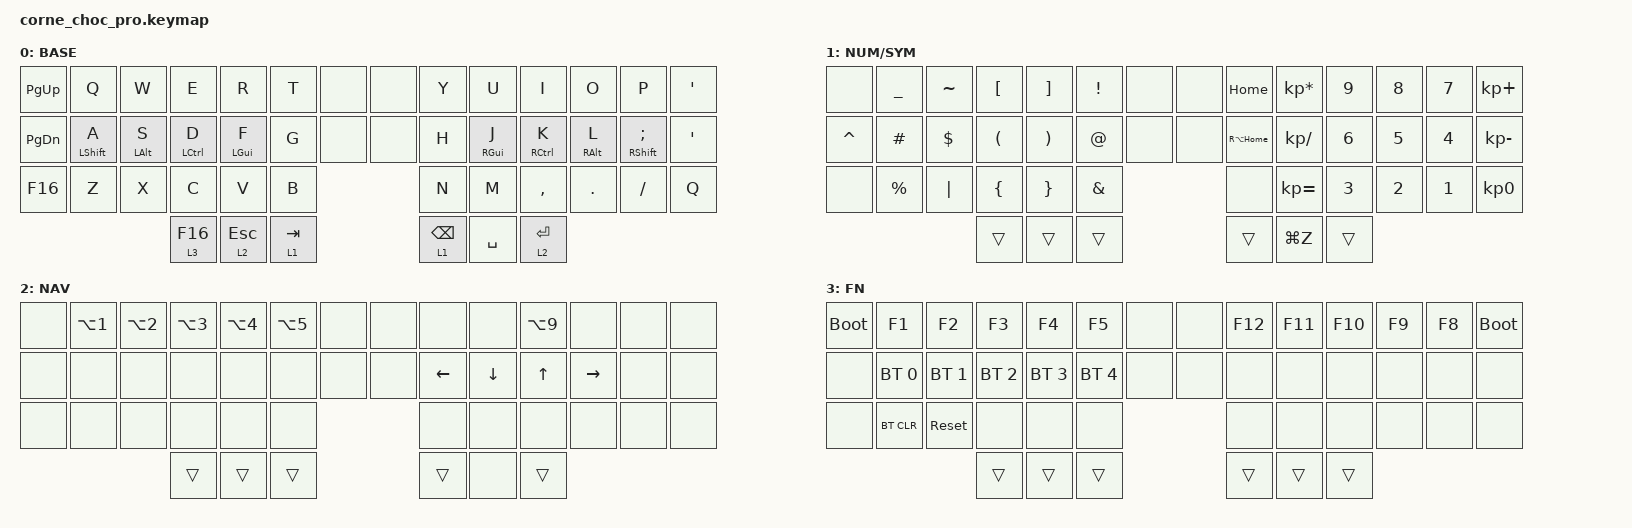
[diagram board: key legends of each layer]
/*
 * Custom layout converted from Vial for Corne Choc Pro
 * Based on keyboard.vil with home row mods
 */

#include <behaviors.dtsi>
#include <dt-bindings/zmk/keys.h>
#include <dt-bindings/zmk/bt.h>

/ {
    chosen {
        zmk,physical-layout = &default_layout;
    };
};

/ {
    keymap {
        compatible = "zmk,keymap";

        // Layer 0: Base Layer - TEST (bottom right is Q instead of Cmd+ESC)
        default_layer {
            display-name = "BASE";
            bindings = <
   &kp PG_UP  &kp Q         &kp W         &kp E         &kp R           &kp T       &none     &none     &kp Y     &kp U           &kp I         &kp O         &kp P          &kp SQT
   &kp PG_DN  &mt LSHFT A   &mt LALT S    &mt LCTRL D   &mt LGUI F      &kp G       &none     &none     &kp H     &mt RGUI J      &mt RCTRL K   &mt RALT L    &mt RSHFT SEMI &kp SQT
   &kp F16    &kp Z         &kp X         &kp C         &kp V           &kp B                           &kp N     &kp M           &kp COMMA     &kp DOT       &kp SLASH      &kp Q
                                          &lt 3 F16     &lt 2 ESC       &lt 1 TAB                       &lt 1 BSPC &kp SPACE      &lt 2 RET
            >;
        };

        // Layer 1: Numbers and Symbols
        numbers_layer {
            display-name = "NUM/SYM";
            bindings = <
   &none      &kp UNDER     &kp TILDE     &kp LBKT      &kp RBKT        &kp EXCL    &none     &none     &kp HOME  &kp KP_MULTIPLY &kp N9        &kp N8        &kp N7         &kp KP_PLUS
   &kp CARET  &kp HASH      &kp DOLLAR    &kp LPAR      &kp RPAR        &kp AT      &none     &none     &kp RA(HOME) &kp KP_DIVIDE &kp N6       &kp N5        &kp N4         &kp KP_MINUS
   &none      &kp PRCNT     &kp PIPE      &kp LBRC      &kp RBRC        &kp AMPS                        &none     &kp KP_EQUAL    &kp N3        &kp N2        &kp N1         &kp KP_N0
                                          &trans        &trans          &trans                          &trans    &kp LG(Z)       &trans
            >;
        };

        // Layer 2: Navigation
        nav_layer {
            display-name = "NAV";
            bindings = <
   &none      &kp LA(N1)    &kp LA(N2)    &kp LA(N3)    &kp LA(N4)      &kp LA(N5)  &none     &none     &none     &none           &kp LA(N9)    &none         &none          &none
   &none      &none         &none         &none         &none           &none       &none     &none     &kp LEFT  &kp DOWN        &kp UP        &kp RIGHT     &none          &none
   &none      &none         &none         &none         &none           &none                           &none     &none           &none         &none         &none          &none
                                          &trans        &trans          &trans                          &trans    &none           &trans
            >;
        };

        // Layer 3: Function Keys + Bootloader
        function_layer {
            display-name = "FN";
            bindings = <
   &bootloader &kp F1       &kp F2        &kp F3        &kp F4          &kp F5      &none     &none     &kp F12   &kp F11         &kp F10       &kp F9        &kp F8         &bootloader
   &none      &bt BT_SEL 0  &bt BT_SEL 1  &bt BT_SEL 2  &bt BT_SEL 3    &bt BT_SEL 4 &none    &none     &none     &none           &none         &none         &none          &none
   &none      &bt BT_CLR    &sys_reset    &none         &none           &none                           &none     &none           &none         &none         &none          &none
                                          &trans        &trans          &trans                          &trans    &trans          &trans
            >;
        };
    };
};
